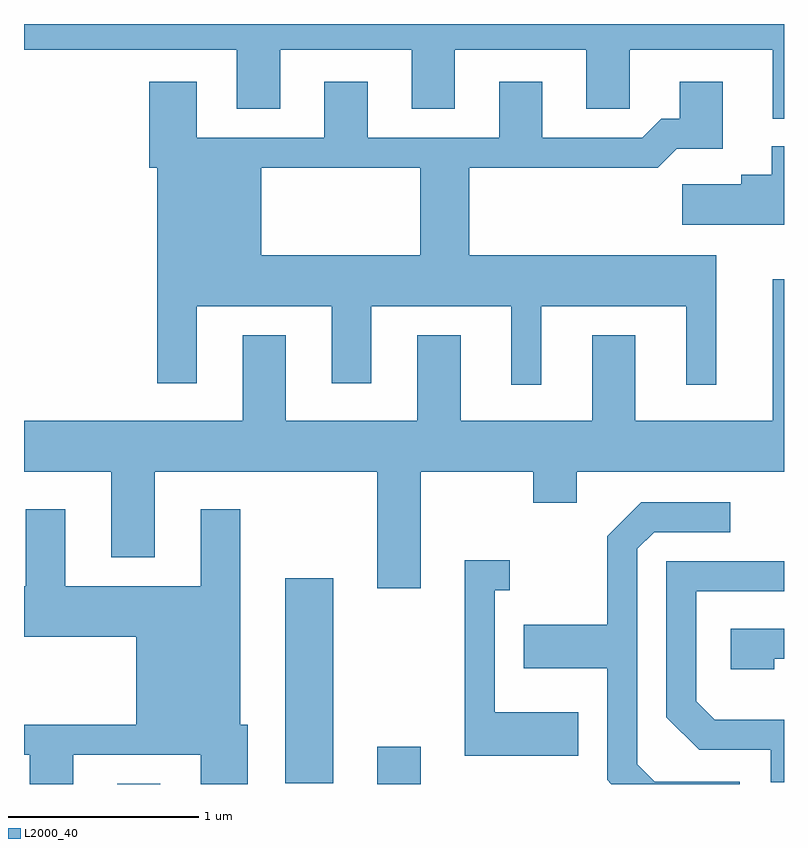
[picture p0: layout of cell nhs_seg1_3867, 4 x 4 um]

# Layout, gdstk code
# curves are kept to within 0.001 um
import gdstk
lib = gdstk.Library(unit=1e-6, precision=1e-09)
def R(c, l, rs):  # rectangles x0, y0, x1, y1
    for r in rs: c.add(gdstk.rectangle(r[:2], r[2:], *l))
def P(c, l, *ps):  # polygons
    for p in ps: c.add(gdstk.Polygon(p, *l))
L2000_40 = (2000, 40)

nhs_seg1_3867 = lib.new_cell('nhs_seg1_3867')
R(nhs_seg1_3867, L2000_40, [(302.101,895.712,302.329,895.714), (303.471,895.712,303.699,895.909), (302.986,895.716,303.239,896.794)])
P(nhs_seg1_3867, L2000_40, [(305.611,899.712),(301.611,899.712),(301.611,899.576),(302.731,899.576),(302.731,899.266),(302.959,899.266),(302.959,899.576),(303.651,899.576),(303.651,899.266),(303.879,899.266),(303.879,899.576),(304.571,899.576),(304.571,899.266),(304.799,899.266),(304.799,899.576),(305.551,899.576),(305.551,899.213),(305.611,899.213)],
  [(302.519,897.821),(302.519,898.226),(303.231,898.226),(303.231,897.821),(303.439,897.821),(303.439,898.226),(304.176,898.226),(304.176,897.813),(304.334,897.813),(304.334,898.226),(305.096,898.226),(305.096,897.813),(305.254,897.813),(305.254,898.494),(303.954,898.494),(303.954,898.956),(304.947,898.956),(305.047,899.056),(305.289,899.056),(305.289,899.409),(305.061,899.409),(305.061,899.214),(304.964,899.214),(304.864,899.114),(304.339,899.114),(304.339,899.409),(304.111,899.409),(304.111,899.114),(303.419,899.114),(303.419,899.409),(303.191,899.409),(303.191,899.114),(302.519,899.114),(302.519,899.409),(302.271,899.409),(302.271,898.956),(302.311,898.956),(302.311,898.494),(302.859,898.494),(302.859,898.956),(303.696,898.956),(303.696,898.494),(302.311,898.494),(302.311,897.821)],
  [(305.611,899.069),(305.546,899.069),(305.546,898.919),(305.386,898.919),(305.386,898.869),(305.076,898.869),(305.076,898.656),(305.611,898.656)],
  [(305.611,898.368),(305.551,898.368),(305.551,897.624),(304.829,897.624),(304.829,898.074),(304.601,898.074),(304.601,897.624),(303.909,897.624),(303.909,898.074),(303.681,898.074),(303.681,897.624),(302.989,897.624),(302.989,898.074),(302.761,898.074),(302.761,897.624),(301.611,897.624),(301.611,897.356),(302.071,897.356),(302.071,896.906),(302.299,896.906),(302.299,897.356),(303.471,897.356),(303.471,896.741),(303.699,896.741),(303.699,897.356),(304.291,897.356),(304.291,897.191),(304.519,897.191),(304.519,897.356),(305.611,897.356)],
  [(305.378,895.724),(304.932,895.724),(304.839,895.817),(304.839,896.949),(304.927,897.036),(305.328,897.036),(305.328,897.194),(304.859,897.194),(304.681,897.017),(304.681,896.549),(304.241,896.549),(304.241,896.321),(304.681,896.321),(304.681,895.734),(304.703,895.712),(305.378,895.712)],
  [(301.869,895.866),(302.541,895.866),(302.541,895.712),(302.789,895.712),(302.789,896.024),(302.749,896.024),(302.749,897.159),(302.541,897.159),(302.541,896.754),(301.829,896.754),(301.829,897.159),(301.621,897.159),(301.621,896.754),(301.611,896.754),(301.611,896.486),(302.201,896.486),(302.201,896.024),(301.611,896.024),(301.611,895.866),(301.641,895.866),(301.641,895.712),(301.869,895.712)],
  [(304.529,896.089),(304.089,896.089),(304.089,896.731),(304.168,896.731),(304.168,896.889),(303.931,896.889),(303.931,895.861),(304.529,895.861)],
  [(305.611,896.049),(305.247,896.049),(305.149,896.147),(305.149,896.726),(305.611,896.726),(305.611,896.884),(304.991,896.884),(304.991,896.064),(305.164,895.891),(305.541,895.891),(305.541,895.721),(305.611,895.721)],
  [(305.559,896.371),(305.611,896.371),(305.611,896.529),(305.331,896.529),(305.331,896.316),(305.559,896.316)])

lib.write_gds('nhs_seg1_3867.gds')
